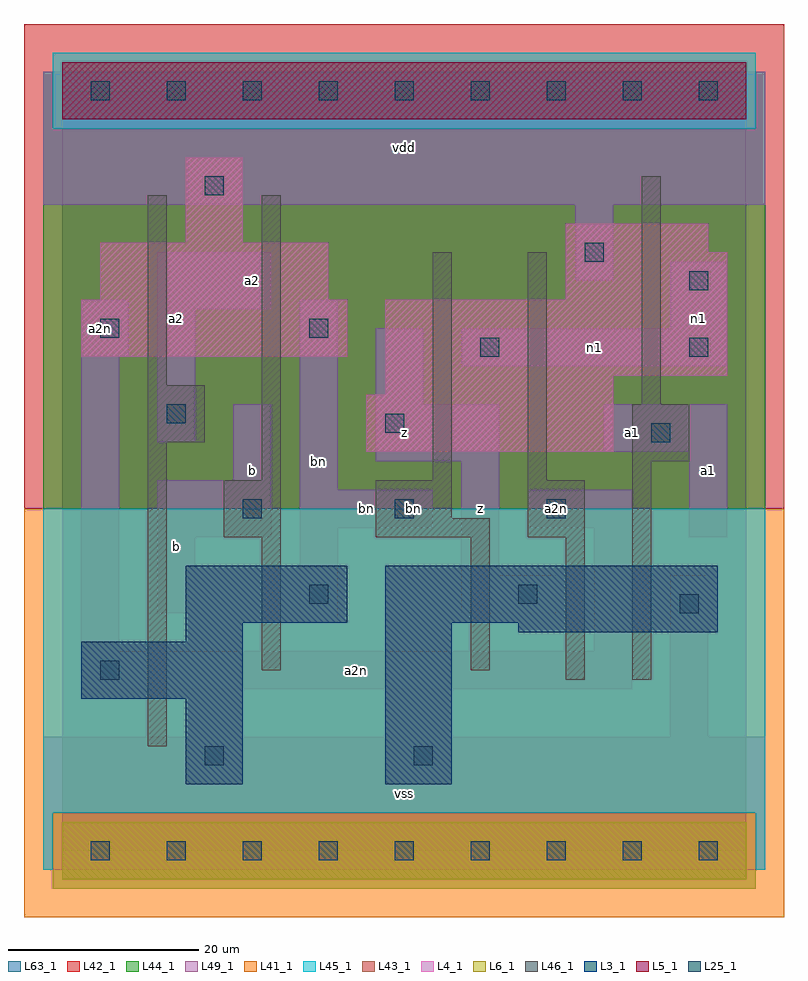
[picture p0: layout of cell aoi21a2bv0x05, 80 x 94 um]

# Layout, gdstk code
import gdstk
lib = gdstk.Library(unit=1e-6, precision=1e-09)
def R(c, l, rs):  # rectangles x0, y0, x1, y1
    for r in rs: c.add(gdstk.rectangle(r[:2], r[2:], *l))
def A(c, l, x, y, w, h, nx, ny, dx, dy):  # array of equal rectangles
    R(c, l, [(x+i*dx, y+j*dy, x+i*dx+w, y+j*dy+h) for i in range(nx) for j in range(ny)])
L3_1 = (3, 1)
L4_1 = (4, 1)
L5_1 = (5, 1)
L6_1 = (6, 1)
L25_1 = (25, 1)
L41_1 = (41, 1)
L42_1 = (42, 1)
L43_1 = (43, 1)
L44_1 = (44, 1)
L45_1 = (45, 1)
L46_1 = (46, 1)
L49_1 = (49, 1)
L63_1 = (63, 1)

aoi21a2bv0x05 = lib.new_cell('aoi21a2bv0x05')
R(aoi21a2bv0x05, L3_1, [(13,7,19,16), (34,7,41,24), (2,16,19,22), (13,22,19,24), (48,23,69,24), (13,24,30,30), (34,24,69,30)])
R(aoi21a2bv0x05, L4_1, [(32,42,58,48), (34,48,58,50), (34,50,70,58), (2,52,30,58), (4,58,28,64), (53,58,70,63), (53,63,68,66), (13,64,19,73)])
R(aoi21a2bv0x05, L5_1, [(0,77,72,83)])
R(aoi21a2bv0x05, L6_1, [(0,-3,72,3), (0,-3,72,3)])
A(aoi21a2bv0x05, L25_1, 3, -1, 2, 2, 9, 2, 8, 80)
A(aoi21a2bv0x05, L25_1, 19, 35, 2, 2, 3, 1, 16, 0)
R(aoi21a2bv0x05, L25_1, [(15,9,17,11), (37,9,39,11), (4,18,6,20), (65,25,67,27), (26,26,28,28), (48,26,50,28), (62,43,64,45), (34,44,36,46), (11,45,13,47), (44,52,46,54), (66,52,68,54), (4,54,6,56), (26,54,28,56), (66,59,68,61), (55,62,57,64), (15,69,17,71)])
R(aoi21a2bv0x05, L41_1, [(-4,-7,76,36)])
R(aoi21a2bv0x05, L42_1, [(-4,36,76,87)])
R(aoi21a2bv0x05, L43_1, [(0,-3,72,3), (13,7,19,16), (34,7,41,24), (2,16,19,22), (13,22,19,24), (48,23,69,24), (13,24,30,30), (34,24,69,30), (32,42,58,48), (34,48,58,50), (34,50,70,58), (2,52,30,58), (4,58,28,64), (53,58,70,63), (53,63,68,66), (13,64,19,73), (0,77,72,83)])
R(aoi21a2bv0x05, L44_1, [(-1,-4,73,4), (-2,36,74,76), (-2,76,-1,82), (73,76,74,82)])
R(aoi21a2bv0x05, L45_1, [(-2,-2,-1,4), (73,-2,74,4), (-2,4,74,36), (-1,76,73,84)])
R(aoi21a2bv0x05, L46_1, [(9,11,11,43), (53,18,55,33), (60,18,62,41), (21,19,23,33), (43,19,45,33), (17,33,23,39), (33,33,45,35), (49,33,55,39), (33,35,41,39), (21,39,23,69), (39,39,41,63), (49,39,51,63), (60,41,66,47), (9,43,15,49), (61,47,63,71), (9,49,11,69)])
R(aoi21a2bv0x05, L49_1, [(-2,-2,74,12), (64,12,68,29), (2,17,60,21), (2,21,6,52), (56,21,60,34), (25,24,29,34), (10,25,14,33), (42,25,52,29), (42,29,46,41), (10,33,22,39), (66,33,70,42), (25,34,39,38), (49,34,60,38), (25,38,29,58), (18,39,22,47), (33,41,46,47), (57,42,70,47), (10,43,14,57), (33,47,38,55), (42,51,70,55), (2,52,7,58), (64,55,70,62), (10,57,22,63), (54,60,58,68), (-2,68,74,82)])
R(aoi21a2bv0x05, L63_1, [(0,0,72,80)])
aoi21a2bv0x05.add(gdstk.Label('bn', (37,36), layer=49, texttype=1))
aoi21a2bv0x05.add(gdstk.Label('a2n', (52,36), layer=49, texttype=1))
aoi21a2bv0x05.add(gdstk.Label('a2n', (4,55), layer=49, texttype=1))
aoi21a2bv0x05.add(gdstk.Label('b', (12,32), layer=49, texttype=1))
aoi21a2bv0x05.add(gdstk.Label('b', (20,40), layer=49, texttype=1))
aoi21a2bv0x05.add(gdstk.Label('a2', (12,56), layer=49, texttype=1))
aoi21a2bv0x05.add(gdstk.Label('a2', (20,60), layer=49, texttype=1))
aoi21a2bv0x05.add(gdstk.Label('vss', (36,6), layer=49, texttype=1))
aoi21a2bv0x05.add(gdstk.Label('bn', (32,36), layer=49, texttype=1))
aoi21a2bv0x05.add(gdstk.Label('z', (36,44), layer=49, texttype=1))
aoi21a2bv0x05.add(gdstk.Label('bn', (27,41), layer=49, texttype=1))
aoi21a2bv0x05.add(gdstk.Label('vdd', (36,74), layer=49, texttype=1))
aoi21a2bv0x05.add(gdstk.Label('z', (44,36), layer=49, texttype=1))
aoi21a2bv0x05.add(gdstk.Label('a2n', (31,19), layer=49, texttype=1))
aoi21a2bv0x05.add(gdstk.Label('a1', (60,44), layer=49, texttype=1))
aoi21a2bv0x05.add(gdstk.Label('a2n', (54,36), layer=49, texttype=1))
aoi21a2bv0x05.add(gdstk.Label('a1', (68,40), layer=49, texttype=1))
aoi21a2bv0x05.add(gdstk.Label('n1', (56,53), layer=49, texttype=1))
aoi21a2bv0x05.add(gdstk.Label('n1', (67,56), layer=49, texttype=1))

lib.write_gds('aoi21a2bv0x05.gds')
